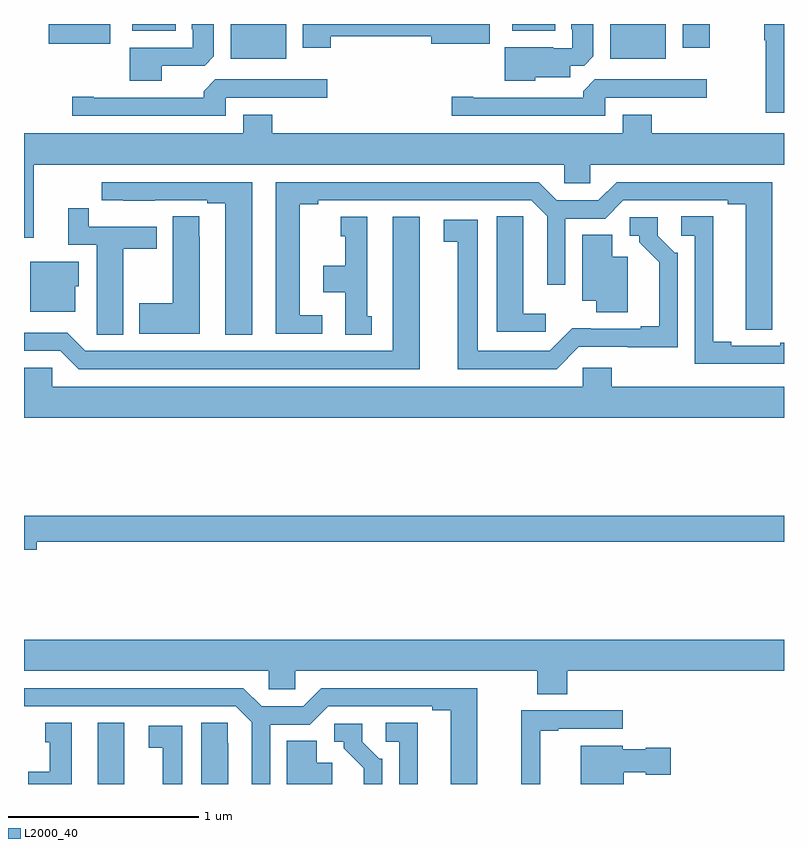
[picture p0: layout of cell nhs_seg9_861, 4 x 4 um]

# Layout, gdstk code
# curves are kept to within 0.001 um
import gdstk
lib = gdstk.Library(unit=1e-6, precision=1e-09)
def R(c, l, rs):  # rectangles x0, y0, x1, y1
    for r in rs: c.add(gdstk.rectangle(r[:2], r[2:], *l))
def P(c, l, *ps):  # polygons
    for p in ps: c.add(gdstk.Polygon(p, *l))
L2000_40 = (2000, 40)

nhs_seg9_861 = lib.new_cell('nhs_seg9_861')
R(nhs_seg9_861, L2000_40, [(157.388,1186.5,157.528,1186.822), (158.087,1190.318,158.38,1190.5), (160.085,1190.318,160.378,1190.5), (160.466,1190.376,160.608,1190.5), (157.13,1190.396,157.453,1190.5), (157.571,1190.465,157.798,1190.5), (159.569,1190.465,159.796,1190.5)])
P(nhs_seg9_861, L2000_40, [(161,1190.5),(160.897,1190.5),(160.897,1190.415),(160.905,1190.415),(160.905,1190.034),(161,1190.034)],
  [(158.615,1190.435),(159.143,1190.435),(159.143,1190.396),(159.451,1190.396),(159.451,1190.5),(158.468,1190.5),(158.468,1190.376),(158.615,1190.376)],
  [(157.726,1190.28),(157.95,1190.28),(157.999,1190.329),(157.999,1190.5),(157.883,1190.5),(157.883,1190.473),(157.887,1190.473),(157.887,1190.376),(157.556,1190.376),(157.556,1190.201),(157.726,1190.201)],
  [(159.69,1190.219),(159.874,1190.219),(159.874,1190.28),(159.948,1190.28),(159.997,1190.329),(159.997,1190.5),(159.881,1190.5),(159.881,1190.473),(159.885,1190.473),(159.885,1190.373),(159.785,1190.373),(159.785,1190.377),(159.53,1190.377),(159.53,1190.201),(159.69,1190.201)],
  [(158.061,1190.112),(158.596,1190.112),(158.596,1190.208),(158.007,1190.208),(157.946,1190.146),(157.946,1190.112),(157.366,1190.112),(157.366,1190.117),(157.254,1190.117),(157.254,1190.016),(158.061,1190.016)],
  [(160.059,1190.112),(160.594,1190.112),(160.594,1190.208),(160.005,1190.208),(159.944,1190.146),(159.944,1190.112),(159.364,1190.112),(159.364,1190.117),(159.252,1190.117),(159.252,1190.016),(160.059,1190.016)],
  [(157.052,1189.76),(159.843,1189.76),(159.843,1189.662),(159.981,1189.662),(159.981,1189.76),(161,1189.76),(161,1189.924),(160.304,1189.924),(160.304,1190.023),(160.151,1190.023),(160.151,1189.924),(158.306,1189.924),(158.306,1190.023),(158.153,1190.023),(158.153,1189.924),(157,1189.924),(157,1189.374),(157.052,1189.374)],
  [(158.2,1189.668),(157.41,1189.668),(157.41,1189.572),(157.522,1189.572),(157.522,1189.571),(157.688,1189.571),(157.688,1189.572),(157.964,1189.572),(157.964,1189.557),(158.06,1189.557),(158.06,1188.865),(158.2,1188.865)],
  [(158.569,1188.966),(158.452,1188.966),(158.452,1189.552),(158.548,1189.552),(158.548,1189.572),(159.669,1189.572),(159.753,1189.488),(159.753,1189.128),(159.849,1189.128),(159.849,1189.476),(160.059,1189.476),(160.155,1189.572),(160.703,1189.572),(160.703,1189.552),(160.799,1189.552),(160.799,1188.892),(160.938,1188.892),(160.939,1189.668),(160.119,1189.668),(160.023,1189.572),(159.805,1189.572),(159.709,1189.668),(158.324,1189.668),(158.324,1188.87),(158.569,1188.87)],
  [(157.522,1189.318),(157.699,1189.318),(157.699,1189.434),(157.34,1189.434),(157.34,1189.531),(157.232,1189.531),(157.232,1189.338),(157.382,1189.338),(157.382,1188.976),(157.383,1188.976),(157.383,1188.865),(157.522,1188.865)],
  [(161,1188.822),(160.979,1188.822),(160.979,1188.807),(160.723,1188.807),(160.723,1188.827),(160.627,1188.827),(160.627,1189.487),(160.458,1189.487),(160.458,1189.386),(160.53,1189.386),(160.53,1188.711),(161,1188.711)],
  [(157.924,1189.379),(157.923,1189.379),(157.923,1189.487),(157.784,1189.487),(157.784,1189.029),(157.607,1189.029),(157.607,1188.869),(157.924,1188.869)],
  [(159.745,1188.976),(159.628,1188.976),(159.628,1189.379),(159.627,1189.379),(159.627,1189.487),(159.488,1189.487),(159.488,1188.879),(159.745,1188.879)],
  [(159.082,1189.486),(158.942,1189.486),(158.942,1188.78),(157.323,1188.78),(157.227,1188.876),(157,1188.876),(157,1188.78),(157.191,1188.78),(157.287,1188.684),(159.082,1188.684)],
  [(158.83,1188.963),(158.806,1188.963),(158.806,1189.486),(158.666,1189.486),(158.666,1189.383),(158.69,1189.383),(158.69,1189.228),(158.576,1189.228),(158.576,1189.088),(158.69,1189.088),(158.69,1188.865),(158.83,1188.865)],
  [(159.921,1188.801),(160.44,1188.8),(160.44,1189.296),(160.425,1189.296),(160.335,1189.386),(160.335,1189.482),(160.188,1189.482),(160.188,1189.386),(160.238,1189.386),(160.238,1189.351),(160.343,1189.246),(160.343,1188.91),(160.247,1188.91),(160.247,1188.897),(159.886,1188.898),(159.768,1188.78),(159.388,1188.78),(159.388,1189.47),(159.21,1189.47),(159.21,1189.354),(159.284,1189.354),(159.284,1188.684),(159.804,1188.684)],
  [(160.177,1189.276),(160.096,1189.276),(160.096,1189.391),(159.938,1189.391),(159.938,1189.043),(160.013,1189.043),(160.013,1188.982),(160.177,1188.982)],
  [(157.27,1189.119),(157.288,1189.119),(157.288,1189.249),(157.034,1189.249),(157.034,1188.986),(157.27,1188.986)],
  [(161,1188.592),(160.094,1188.592),(160.094,1188.69),(159.942,1188.69),(159.942,1188.592),(157.149,1188.592),(157.149,1188.69),(157,1188.69),(157,1188.428),(161,1188.428)],
  [(157.066,1187.776),(161,1187.776),(161,1187.912),(157,1187.912),(157,1187.734),(157.066,1187.734)],
  [(159.86,1187.096),(161,1187.096),(161,1187.26),(157,1187.26),(157,1187.096),(158.289,1187.096),(158.289,1186.998),(158.427,1186.998),(158.427,1187.096),(159.7,1187.096),(159.7,1186.972),(159.86,1186.972)],
  [(158.295,1186.812),(158.505,1186.812),(158.601,1186.908),(159.149,1186.908),(159.149,1186.888),(159.245,1186.888),(159.245,1186.5),(159.385,1186.5),(159.385,1187.004),(158.565,1187.004),(158.469,1186.908),(158.251,1186.908),(158.155,1187.004),(157,1187.004),(157,1186.908),(158.115,1186.908),(158.199,1186.824),(158.199,1186.5),(158.295,1186.5)],
  [(159.716,1186.779),(159.811,1186.779),(159.811,1186.791),(160.15,1186.791),(160.15,1186.887),(159.616,1186.887),(159.616,1186.5),(159.716,1186.5)],
  [(159.073,1186.823),(158.904,1186.823),(158.904,1186.722),(158.976,1186.722),(158.976,1186.5),(159.073,1186.5)],
  [(158.074,1186.715),(158.073,1186.715),(158.073,1186.823),(157.934,1186.823),(157.934,1186.5),(158.074,1186.5)],
  [(157.252,1186.822),(157.112,1186.822),(157.112,1186.719),(157.136,1186.719),(157.136,1186.564),(157.022,1186.564),(157.022,1186.5),(157.252,1186.5)],
  [(158.886,1186.632),(158.871,1186.632),(158.781,1186.722),(158.781,1186.818),(158.634,1186.818),(158.634,1186.722),(158.684,1186.722),(158.684,1186.687),(158.789,1186.582),(158.789,1186.5),(158.886,1186.5)],
  [(157.834,1186.806),(157.656,1186.806),(157.656,1186.69),(157.73,1186.69),(157.73,1186.5),(157.834,1186.5)],
  [(158.623,1186.612),(158.542,1186.612),(158.542,1186.727),(158.384,1186.727),(158.384,1186.5),(158.623,1186.5)],
  [(160.156,1186.562),(160.272,1186.562),(160.272,1186.55),(160.405,1186.55),(160.405,1186.692),(160.272,1186.692),(160.272,1186.684),(160.152,1186.684),(160.152,1186.702),(159.929,1186.702),(159.929,1186.5),(160.156,1186.5)])

lib.write_gds('nhs_seg9_861.gds')
